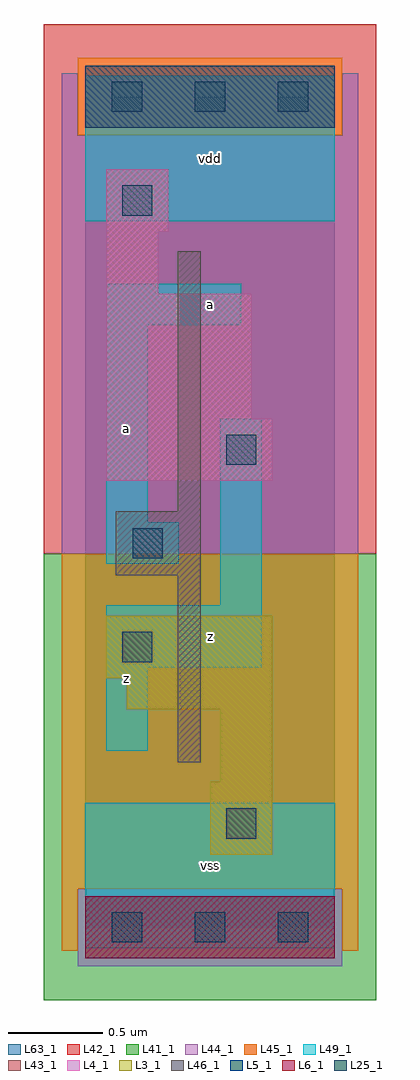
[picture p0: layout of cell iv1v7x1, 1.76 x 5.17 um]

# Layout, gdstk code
import gdstk
lib = gdstk.Library(unit=1e-6, precision=1e-09)
def R(c, l, rs):  # rectangles x0, y0, x1, y1
    for r in rs: c.add(gdstk.rectangle(r[:2], r[2:], *l))
def A(c, l, x, y, w, h, nx, ny, dx, dy):  # array of equal rectangles
    R(c, l, [(x+i*dx, y+j*dy, x+i*dx+w, y+j*dy+h) for i in range(nx) for j in range(ny)])
L3_1 = (3, 1)
L4_1 = (4, 1)
L5_1 = (5, 1)
L6_1 = (6, 1)
L25_1 = (25, 1)
L41_1 = (41, 1)
L42_1 = (42, 1)
L43_1 = (43, 1)
L44_1 = (44, 1)
L45_1 = (45, 1)
L46_1 = (46, 1)
L49_1 = (49, 1)
L63_1 = (63, 1)

iv1v7x1 = lib.new_cell('iv1v7x1')
R(iv1v7x1, L3_1, [(0.66,0.385,0.99,0.77), (0.715,0.77,0.99,1.155), (0.22,1.155,0.99,1.32), (0.11,1.32,0.99,1.65)])
R(iv1v7x1, L4_1, [(0.11,2.365,0.99,2.695), (0.11,2.695,0.88,3.355), (0.11,3.355,0.385,3.685), (0.11,3.685,0.44,4.015)])
R(iv1v7x1, L5_1, [(0,4.235,1.32,4.565)])
R(iv1v7x1, L6_1, [(0,-0.165,1.32,0.165)])
A(iv1v7x1, L25_1, 0.14, -0.08, 0.16, 0.16, 3, 2, 0.44, 4.4)
R(iv1v7x1, L25_1, [(0.745,0.47,0.905,0.63), (0.195,1.405,0.355,1.565), (0.25,1.955,0.41,2.115), (0.745,2.45,0.905,2.61), (0.195,3.77,0.355,3.93)])
R(iv1v7x1, L41_1, [(-0.22,-0.385,1.54,1.98)])
R(iv1v7x1, L42_1, [(-0.22,1.98,1.54,4.785)])
R(iv1v7x1, L43_1, [(0,-0.165,1.32,0.165), (0.66,0.385,0.99,0.77), (0.715,0.77,0.99,1.155), (0.22,1.155,0.99,1.32), (0.11,1.32,0.99,1.65), (0.11,2.365,0.99,2.695), (0.11,2.695,0.88,3.355), (0.11,3.355,0.385,3.685), (0.11,3.685,0.44,4.015), (0,4.235,1.32,4.565)])
R(iv1v7x1, L44_1, [(-0.04,-0.205,1.36,0.205), (-0.125,1.98,1.445,4.195), (-0.125,4.195,-0.04,4.525), (1.36,4.195,1.445,4.525)])
R(iv1v7x1, L45_1, [(-0.125,-0.125,-0.04,0.205), (1.36,-0.125,1.445,0.205), (-0.125,0.205,1.445,1.98), (-0.04,4.195,1.36,4.605)])
R(iv1v7x1, L46_1, [(0.49,0.875,0.61,1.865), (0.16,1.865,0.61,2.205), (0.49,2.205,0.61,3.58)])
R(iv1v7x1, L49_1, [(0,-0.11,1.32,0.66), (0.11,0.935,0.33,1.375), (0.11,1.375,0.935,1.705), (0.715,1.705,0.935,2.695), (0.11,1.925,0.495,2.145), (0.11,2.145,0.33,3.19), (0.11,3.19,0.825,3.41), (0,3.74,1.32,4.51)])
R(iv1v7x1, L63_1, [(0,0,1.32,4.4)])
iv1v7x1.add(gdstk.Label('z', (0.22,1.32), layer=49, texttype=1))
iv1v7x1.add(gdstk.Label('a', (0.22,2.64), layer=49, texttype=1))
iv1v7x1.add(gdstk.Label('vss', (0.66,0.33), layer=49, texttype=1))
iv1v7x1.add(gdstk.Label('z', (0.66,1.54), layer=49, texttype=1))
iv1v7x1.add(gdstk.Label('a', (0.66,3.3), layer=49, texttype=1))
iv1v7x1.add(gdstk.Label('vdd', (0.66,4.07), layer=49, texttype=1))

lib.write_gds('iv1v7x1.gds')
